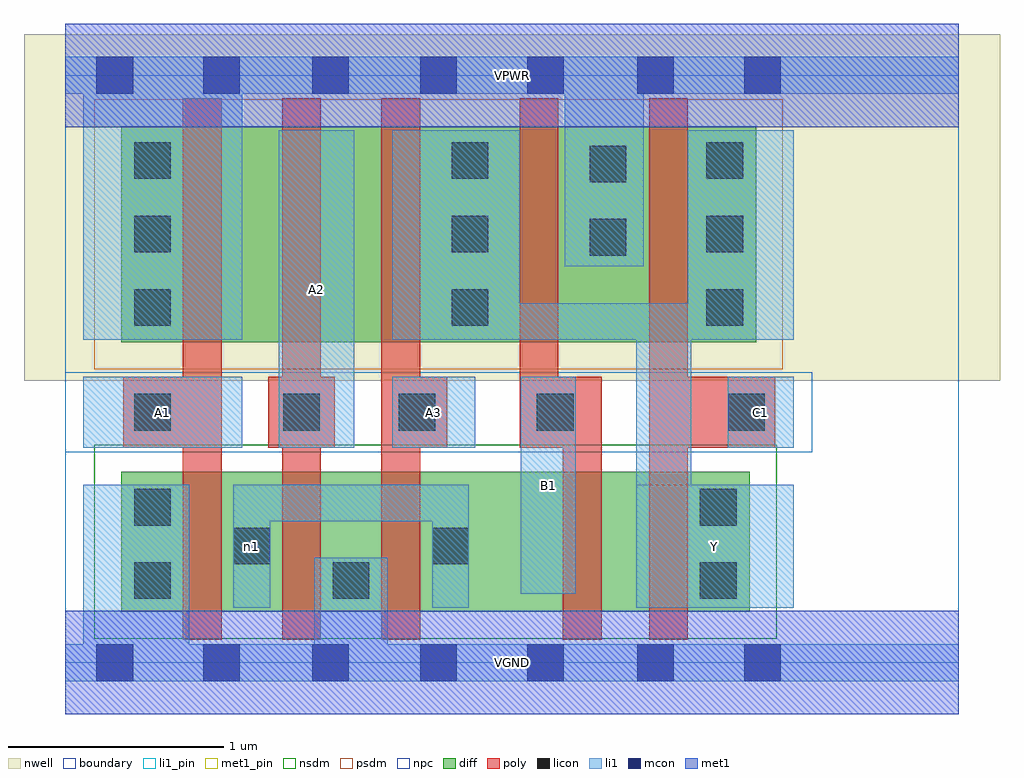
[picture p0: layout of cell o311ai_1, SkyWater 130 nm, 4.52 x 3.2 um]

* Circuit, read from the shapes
.subckt o311ai_1 A1 A2 A3 B1 C1 VGND VPWR Y n1
XM1 n1 A1 VGND VSUBS sky130_fd_pr__nfet_01v8 w=0.65 l=0.18
XM2 VGND A2 n1 VSUBS sky130_fd_pr__nfet_01v8 w=0.65 l=0.18
XM3 n1 A3 VGND VSUBS sky130_fd_pr__nfet_01v8 w=0.65 l=0.18
XM4 n2 B1 n1 VSUBS sky130_fd_pr__nfet_01v8 w=0.65 l=0.18
XM5 Y C1 n2 VSUBS sky130_fd_pr__nfet_01v8 w=0.65 l=0.18
XM6 n3 A1 VPWR n4 sky130_fd_pr__pfet_01v8 w=1 l=0.18
XM7 n5 A2 n3 n4 sky130_fd_pr__pfet_01v8 w=1 l=0.18
XM8 Y A3 n5 n4 sky130_fd_pr__pfet_01v8 w=1 l=0.18
XM9 VPWR B1 Y n4 sky130_fd_pr__pfet_01v8 w=1 l=0.18
XM10 Y C1 VPWR n4 sky130_fd_pr__pfet_01v8 w=1 l=0.18
.ends

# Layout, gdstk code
import gdstk
lib = gdstk.Library(unit=1e-6, precision=1e-09)
def R(c, l, rs):  # rectangles x0, y0, x1, y1
    for r in rs: c.add(gdstk.rectangle(r[:2], r[2:], *l))
def A(c, l, x, y, w, h, nx, ny, dx, dy):  # array of equal rectangles
    R(c, l, [(x+i*dx, y+j*dy, x+i*dx+w, y+j*dy+h) for i in range(nx) for j in range(ny)])
nwell = (64, 20)
diff = (65, 20)
poly = (66, 20)
licon = (66, 44)
li1_pin = (67, 16)
li1 = (67, 20)
mcon = (67, 44)
met1_pin = (68, 16)
met1 = (68, 20)
nsdm = (93, 44)
psdm = (94, 20)
npc = (95, 20)
boundary = (235, 4)

o311ai_1 = lib.new_cell('o311ai_1')
R(o311ai_1, nwell, [(-0.19,1.305,4.33,2.91), (0,1.305,4.14,2.91)])
R(o311ai_1, diff, [(0.26,0.235,3.17,0.885), (0.26,1.485,3.2,2.485)])
A(o311ai_1, poly, 0.545, 0.105, 0.18, 2.51, 3, 1, 0.46, 0)
R(o311ai_1, poly, [(2.305,0.105,2.485,1.325), (2.705,0.105,2.885,2.615), (0.27,0.995,0.725,1.325), (0.94,0.995,1.25,1.325), (1.465,0.995,1.77,1.325), (2.105,0.995,2.285,2.615), (2.105,0.995,2.485,1.325), (2.705,0.995,3.29,1.325)])
A(o311ai_1, licon, 0.32, 1.56, 0.17, 0.17, 1, 3, 0, 0.34)
A(o311ai_1, licon, 1.79, 1.56, 0.17, 0.17, 1, 3, 0, 0.34)
A(o311ai_1, licon, 2.97, 1.56, 0.17, 0.17, 1, 3, 0, 0.34)
R(o311ai_1, licon, [(0.32,0.295,0.49,0.465), (1.24,0.295,1.41,0.465), (2.94,0.295,3.11,0.465), (0.78,0.455,0.95,0.625), (1.7,0.455,1.87,0.625), (0.32,0.635,0.49,0.805), (2.94,0.635,3.11,0.805), (0.32,1.075,0.49,1.245), (1.01,1.075,1.18,1.245), (1.545,1.075,1.715,1.245), (2.185,1.075,2.355,1.245), (3.07,1.075,3.24,1.245), (2.43,1.885,2.6,2.055), (2.43,2.225,2.6,2.395)])
R(o311ai_1, li1_pin, [(2.645,0.255,3.375,0.825), (2.11,0.32,2.365,1.325), (0.085,0.995,0.82,1.325), (0.99,0.995,1.34,2.465), (1.515,0.995,1.9,1.325), (3.07,0.995,3.375,1.325)])
R(o311ai_1, li1, [(0,-0.085,4.14,0.085), (0.085,-0.085,0.575,0.825), (1.155,-0.085,1.495,0.485), (0.78,0.255,0.95,0.825), (1.7,0.255,1.87,0.825), (2.645,0.255,3.375,0.825), (2.645,0.255,2.9,1.665), (2.11,0.32,2.365,1.325), (0.78,0.655,1.87,0.825), (0.085,0.995,0.82,1.325), (0.99,0.995,1.34,2.465), (1.515,0.995,1.9,1.325), (3.07,0.995,3.375,1.325), (0.085,1.495,0.82,2.805), (1.515,1.495,2.105,2.465), (1.515,1.495,3.375,1.665), (2.885,1.495,3.375,2.465), (2.315,1.835,2.68,2.805), (0,2.635,4.14,2.805)])
R(o311ai_1, mcon, [(0.145,-0.085,0.315,0.085), (0.64,-0.085,0.81,0.085), (1.145,-0.085,1.315,0.085), (1.645,-0.085,1.815,0.085), (2.14,-0.085,2.31,0.085), (2.65,-0.085,2.82,0.085), (3.145,-0.085,3.315,0.085), (0.145,2.635,0.315,2.805), (0.64,2.635,0.81,2.805), (1.145,2.635,1.315,2.805), (1.645,2.635,1.815,2.805), (2.14,2.635,2.31,2.805), (2.65,2.635,2.82,2.805), (3.145,2.635,3.315,2.805)])
R(o311ai_1, met1_pin, [(0,-0.24,4.14,0.24), (0,2.48,4.14,2.96)])
R(o311ai_1, met1, [(0,-0.24,4.14,0.24), (0,2.48,4.14,2.96)])
R(o311ai_1, nsdm, [(0.135,0.11,3.295,1.01)])
R(o311ai_1, psdm, [(0.135,1.36,3.325,2.61)])
R(o311ai_1, npc, [(0,0.975,3.46,1.345)])
R(o311ai_1, boundary, [(0,0,4.14,2.72)])
o311ai_1.add(gdstk.Label('A1', (0.452,1.16), layer=67, texttype=5))
o311ai_1.add(gdstk.Label('A2', (1.165,1.73), layer=67, texttype=5))
o311ai_1.add(gdstk.Label('A3', (1.707,1.16), layer=67, texttype=5))
o311ai_1.add(gdstk.Label('B1', (2.237,0.822), layer=67, texttype=5))
o311ai_1.add(gdstk.Label('C1', (3.222,1.16), layer=67, texttype=5))
o311ai_1.add(gdstk.Label('Y', (3.01,0.54), layer=67, texttype=5))
o311ai_1.add(gdstk.Label('n1', (0.865,0.54), layer=67, texttype=5))
o311ai_1.add(gdstk.Label('VPWR', (2.07,2.72), layer=68, texttype=5))
o311ai_1.add(gdstk.Label('VGND', (2.07,0), layer=68, texttype=5))
o311ai_1.add(gdstk.Label('A1', (0.452,1.16), layer=67, texttype=16))
o311ai_1.add(gdstk.Label('A2', (1.165,1.73), layer=67, texttype=16))
o311ai_1.add(gdstk.Label('A3', (1.707,1.16), layer=67, texttype=16))
o311ai_1.add(gdstk.Label('B1', (2.237,0.822), layer=67, texttype=16))
o311ai_1.add(gdstk.Label('C1', (3.222,1.16), layer=67, texttype=16))
o311ai_1.add(gdstk.Label('Y', (3.01,0.54), layer=67, texttype=16))
o311ai_1.add(gdstk.Label('VPWR', (2.07,2.72), layer=68, texttype=16))
o311ai_1.add(gdstk.Label('VGND', (2.07,0), layer=68, texttype=16))

lib.write_gds('o311ai_1.gds')
